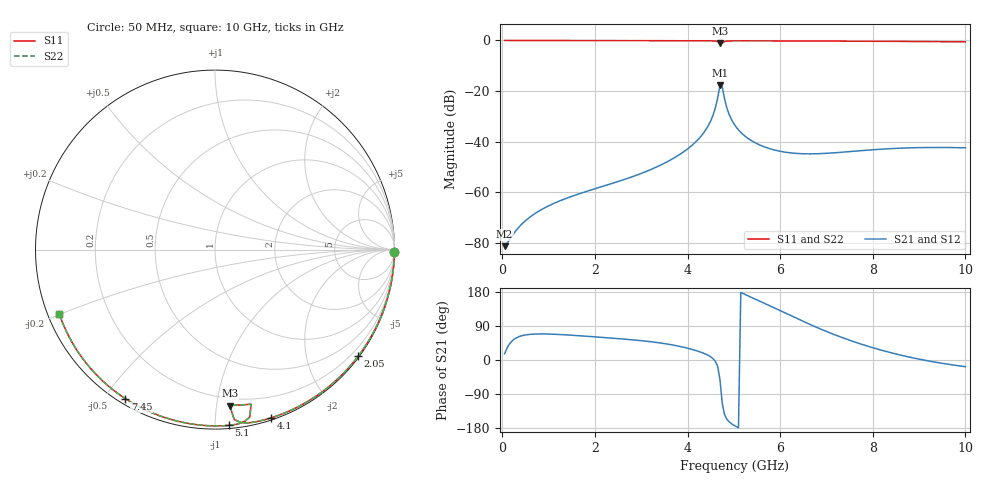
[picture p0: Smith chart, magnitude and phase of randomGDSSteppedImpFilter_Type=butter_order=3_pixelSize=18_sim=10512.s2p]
! freq	dB(S11)	phase(S11)	dB(S12)	phase(S12)
!  dB(S21)	phase(S21)	dB(S22)	phase(S22)
!S-par simulation data
#  GHz  S  DB  R 50
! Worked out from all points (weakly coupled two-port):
!   200 points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, 50 MHz to 10 GHz, reference 50 ohm
!   highest |S21| = -17.74 dB at 4.7 GHz (marker M1); lowest = -81.2 dB at 50 MHz (marker M2)
!   lowest |S11| = -1.2 dB at 4.7 GHz (marker M3), VSWR 14.75, Z = 7.44 - j54.4 ohm
!   |S11| at or under -10 dB: nowhere
!   |S22| runs from -1.2 to 0.0 dB; largest |S21 - S12| = 0
!   S11 on the Smith chart (normalised r, x): 50 MHz: open; 2.05 GHz: 0.03, -3.01; 4.1 GHz: 0.02, -1.39; 5.1 GHz: 0.02, -1.08; 7.45 GHz: 0.02, -0.57; 10 GHz: 0.03, -0.20
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0.05  -0.00 -0.9  -81.19 16.7  -81.19 16.7  -0.00 -0.9
0.1  -0.00 -1.8  -80.14 30.9  -80.14 30.9  -0.00 -1.8
0.4  -0.01 -7.3  -72.88 63.3  -72.88 63.3  -0.01 -7.3
0.7  -0.01 -12.7  -68.37 68.4  -68.37 68.4  -0.01 -12.7
1.75  -0.04 -31.4  -59.98 63.3  -59.98 63.3  -0.04 -31.4
2.05  -0.05 -36.7  -58.24 60.6  -58.24 60.6  -0.05 -36.7
3.4  -0.08 -59.7  -49.36 45.2  -49.36 45.2  -0.08 -59.7
4.1  -0.10 -71.4  -41.33 27.9  -41.33 27.9  -0.10 -71.4
4.35  -0.12 -75.8  -36.41 17.8  -36.41 17.8  -0.12 -75.8
4.5  -0.15 -78.8  -31.74 8.5  -31.74 8.5  -0.15 -78.8
4.6  -0.23 -81.5  -26.68 -3.4  -26.68 -3.4  -0.23 -81.5
4.7  -1.18 -84.6  -17.74 -51.0  -17.74 -51.0  -1.18 -84.6
4.75  -1.06 -76.8  -18.31 -114.7  -18.31 -114.7  -1.06 -76.8
4.85  -0.26 -80.1  -26.70 -156.3  -26.70 -156.3  -0.26 -80.1
5.05  -0.16 -84.7  -34.16 -175.6  -34.16 -175.6  -0.16 -84.7
5.1  -0.16 -85.6  -35.28 -178.8  -35.28 -178.8  -0.16 -85.6
5.4  -0.16 -90.6  -39.77 164.1  -39.77 164.1  -0.16 -90.6
5.75  -0.17 -96.0  -42.58 144.6  -42.58 144.6  -0.17 -96.0
6.7  -0.22 -110.1  -44.75 90.8  -44.75 90.8  -0.22 -110.1
7.45  -0.27 -121.0  -43.94 54.3  -43.94 54.3  -0.27 -121.0
8.35  -0.35 -133.8  -42.73 20.5  -42.73 20.5  -0.35 -133.8
10  -0.55 -157.6  -42.37 -17.6  -42.37 -17.6  -0.55 -157.6
